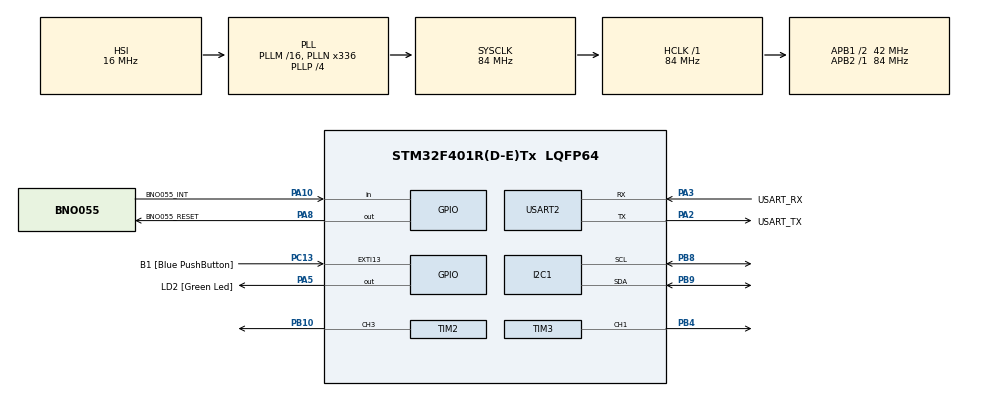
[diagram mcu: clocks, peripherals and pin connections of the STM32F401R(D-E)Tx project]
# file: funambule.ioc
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FREERTOS.Tasks01=defaultTask,24,128,StartDefaultTask,Default,NULL,Dynamic,NULL,NULL
Mcu.Family=STM32F4
Mcu.Name=STM32F401R(D-E)Tx
Mcu.Package=LQFP64
NVIC.I2C1_ER_IRQn=true\:5\:0\:false\:false\:true\:true\:true\:true
NVIC.I2C1_EV_IRQn=true\:5\:0\:false\:false\:true\:true\:true\:true
NVIC.PriorityGroup=NVIC_PRIORITYGROUP_4
NVIC.TIM1_TRG_COM_TIM11_IRQn=true\:0\:0\:false\:false\:true\:false\:false\:true
NVIC.TimeBase=TIM1_TRG_COM_TIM11_IRQn
NVIC.TimeBaseIP=TIM11
NVIC.USART2_IRQn=true\:5\:0\:false\:false\:true\:true\:true\:true
PA10.GPIO_Label=BNO055_INT
PA10.Signal=GPIO_Input
PA13.GPIO_Label=TMS
PA13.Mode=Serial_Wire
PA13.Signal=SYS_JTMS-SWDIO
PA14.GPIO_Label=TCK
PA14.Mode=Serial_Wire
PA14.Signal=SYS_JTCK-SWCLK
PA2.GPIO_Label=USART_TX
PA2.GPIO_Mode=GPIO_MODE_AF_PP
PA2.GPIO_PuPd=GPIO_NOPULL
PA2.GPIO_Speed=GPIO_SPEED_FREQ_LOW
PA2.Mode=Asynchronous
PA2.Signal=USART2_TX
PA3.GPIO_Label=USART_RX
PA3.GPIO_Mode=GPIO_MODE_AF_PP
PA3.GPIO_PuPd=GPIO_NOPULL
PA3.GPIO_Speed=GPIO_SPEED_FREQ_LOW
PA3.Mode=Asynchronous
PA3.Signal=USART2_RX
PA5.GPIO_Label=LD2 [Green Led]
PA5.GPIO_Mode=GPIO_MODE_OUTPUT_PP
PA5.GPIO_PuPd=GPIO_NOPULL
PA5.GPIO_Speed=GPIO_SPEED_FREQ_LOW
PA5.Signal=GPIO_Output
PA8.GPIO_Label=BNO055_RESET
PA8.Signal=GPIO_Output
PB10.Signal=S_TIM2_CH3
PB3.GPIO_Label=SWO
PB3.Signal=SYS_JTDO-SWO
PB4.Signal=S_TIM3_CH1
PB8.Mode=I2C
PB8.Signal=I2C1_SCL
PB9.Mode=I2C
PB9.Signal=I2C1_SDA
PC13-ANTI_TAMP.GPIO_Label=B1 [Blue PushButton]
PC13-ANTI_TAMP.GPIO_ModeDefaultEXTI=GPIO_MODE_IT_FALLING
PC13-ANTI_TAMP.GPIO_PuPd=GPIO_NOPULL
PC13-ANTI_TAMP.Signal=GPXTI13
PC14-OSC32_IN.Mode=LSE-External-Oscillator
PC14-OSC32_IN.Signal=RCC_OSC32_IN
PC15-OSC32_OUT.Mode=LSE-External-Oscillator
PC15-OSC32_OUT.Signal=RCC_OSC32_OUT
PH0\ -\ OSC_IN.Mode=HSE-External-Clock-Source
PH0\ -\ OSC_IN.Signal=RCC_OSC_IN
PH1\ -\ OSC_OUT.Mode=HSE-External-Clock-Source
PH1\ -\ OSC_OUT.Signal=RCC_OSC_OUT
ProjectManager.HeapSize=0x200
ProjectManager.StackSize=0x400
ProjectManager.TargetToolchain=TrueSTUDIO
RCC.48MHZClocksFreq_Value=48000000
RCC.AHBFreq_Value=84000000
RCC.APB1CLKDivider=RCC_HCLK_DIV2
RCC.APB1Freq_Value=42000000
RCC.APB1TimFreq_Value=84000000
RCC.APB2Freq_Value=84000000
RCC.APB2TimFreq_Value=84000000
RCC.CortexFreq_Value=84000000
RCC.HCLKFreq_Value=84000000
RCC.HSE_VALUE=8000000
RCC.HSI_VALUE=16000000
RCC.PLLN=336
RCC.PLLP=RCC_PLLP_DIV4
RCC.PLLQ=7
RCC.SYSCLKFreq_VALUE=84000000
RCC.SYSCLKSource=RCC_SYSCLKSOURCE_PLLCLK
RCC.VCOOutputFreq_Value=336000000
SH.S_TIM2_CH3.0=TIM2_CH3,PWM Generation3 CH3
SH.S_TIM3_CH1.0=TIM3_CH1,PWM Generation1 CH1
TIM2.Channel-PWM\ Generation3\ CH3=TIM_CHANNEL_3
TIM2.Period=20000
TIM2.Prescaler=80
TIM2.Pulse-PWM\ Generation3\ CH3=1500
TIM3.Channel-PWM\ Generation1\ CH1=TIM_CHANNEL_1
TIM3.Period=20000
TIM3.Prescaler=80
TIM3.Pulse-PWM\ Generation1\ CH1=1500
USART2.VirtualMode=VM_ASYNC
VP_FREERTOS_VS_CMSIS_V2.Mode=CMSIS_V2
VP_SYS_VS_tim11.Mode=TIM11
board=NUCLEO-F401RE

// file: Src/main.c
/* USER CODE BEGIN Header */
/**
  ******************************************************************************
  * @file           : main.c
  * @brief          : Main program body
  ******************************************************************************
  * @attention
  *
  * <h2><center>&copy; Copyright (c) 2021 STMicroelectronics.
  * All rights reserved.</center></h2>
  *
  * This software component is licensed by ST under BSD 3-Clause license,
  * the "License"; You may not use this file except in compliance with the
  * License. You may obtain a copy of the License at:
  *                        opensource.org/licenses/BSD-3-Clause
  *
  ******************************************************************************
  */
/* USER CODE END Header */
#include "main.h"
#include "cmsis_os.h"

/* USER CODE BEGIN Includes */
#include "stdio.h"
#include "stdbool.h"
#include "semphr.h"
#include "retarget.h"
#include "bno055_support.h"
#include "quaternion.h"
/* USER CODE END Includes */

/* USER CODE BEGIN PTD */
typedef struct
{
	int32_t yaw;//16th of degree
	int32_t pitch;//16th of degree
	int32_t roll;//16th of degree
	uint32_t time;//ms
}imu_t;

typedef enum
{
	static_goal,
	dynamic_goal,
	very_dynamic_goal
}goal_e;

typedef struct
{
	int32_t yaw;//16th of degree
	int32_t pitch;//16th of degree
	int32_t roll;//16th of degree
	goal_e type;//ms
}goal_t;

typedef enum
{
	static_control,
	dynamic_control
}control_e;

typedef struct
{
	control_e control;
	int32_t yaw;//16th of degree
	int32_t pitch;//16th of degree
	int32_t roll;//16th of degree
}control_t;

/* USER CODE END PTD */

/* USER CODE BEGIN PD */
#define pdMS_TO_TICKS( xTimeInMs ) ( ( TickType_t ) ( ( ( TickType_t ) ( xTimeInMs ) * ( TickType_t ) configTICK_RATE_HZ ) / ( TickType_t ) 1000 ) )
/* USER CODE END PD */

I2C_HandleTypeDef hi2c1;

TIM_HandleTypeDef htim2;
TIM_HandleTypeDef htim3;

UART_HandleTypeDef huart2;

/* Definitions for defaultTask */
osThreadId_t defaultTaskHandle;
const osThreadAttr_t defaultTask_attributes = {
  .name = "defaultTask",
  .stack_size = 128 * 4,
  .priority = (osPriority_t) osPriorityNormal,
};
/* USER CODE BEGIN PV */
osThreadId_t comTaskHandle;
osThreadId_t sensorTaskHandle;
osThreadId_t guidanceTaskHandle;
osThreadId_t commandTaskHandle;
extern struct bno055_t bno055;
extern SemaphoreHandle_t xI2cRxSemaphore;
extern SemaphoreHandle_t xI2cTxSemaphore;
imu_t imu_position;
control_t control={0,0,0,static_control};
goal_t goal={0,0,0,dynamic_goal};

/* USER CODE END PV */

void SystemClock_Config(void);
static void MX_GPIO_Init(void);
static void MX_USART2_UART_Init(void);
static void MX_I2C1_Init(void);
static void MX_TIM2_Init(void);
static void MX_TIM3_Init(void);
void StartDefaultTask(void *argument);

/* USER CODE BEGIN PFP */
void StartComTask(void *argument);
void StartSensorTask(void *argument);
void StartGuidanceTask(void *argument);
void StartCommandTask(void *argument);

/* USER CODE END PFP */

int main(void)
{

  /* MCU Configuration--------------------------------------------------------*/

  /* Reset of all peripherals, Initializes the Flash interface and the Systick. */
  HAL_Init();

  /* Configure the system clock */
  SystemClock_Config();

  /* Initialize all configured peripherals */
  MX_GPIO_Init();
  MX_USART2_UART_Init();
  MX_I2C1_Init();
  MX_TIM2_Init();
  MX_TIM3_Init();
  /* USER CODE BEGIN 2 */
  RetargetInit(&huart2);
  HAL_TIM_PWM_Start(&htim2,  TIM_CHANNEL_3);
  HAL_TIM_PWM_Start(&htim3,  TIM_CHANNEL_1);
  /* USER CODE END 2 */

  /* Init scheduler */
  osKernelInitialize();

  /* Create the thread(s) */
  /* creation of defaultTask */
  defaultTaskHandle = osThreadNew(StartDefaultTask, NULL, &defaultTask_attributes);

  /* USER CODE BEGIN RTOS_THREADS */
  const osThreadAttr_t comTask_attributes = {
    .name = "comTask",
    .priority = (osPriority_t) osPriorityNormal,
    .stack_size = 2048
  };
  comTaskHandle = osThreadNew(StartComTask, NULL, &comTask_attributes);
  const osThreadAttr_t sensorTask_attributes = {
    .name = "sensorTask",
    .priority = (osPriority_t) osPriorityNormal,
    .stack_size = 2048
  };
  sensorTaskHandle = osThreadNew(StartSensorTask, NULL, &sensorTask_attributes);
  const osThreadAttr_t commandTask_attributes = {
    .name = "commandTask",
    .priority = (osPriority_t) osPriorityNormal,
    .stack_size = 2048
  };
  commandTaskHandle = osThreadNew(StartCommandTask, NULL, &commandTask_attributes);
  const osThreadAttr_t guidanceTask_attributes = {
    .name = "guidanceTask",
    .priority = (osPriority_t) osPriorityNormal,
    .stack_size = 2048
  };
  guidanceTaskHandle = osThreadNew(StartGuidanceTask, NULL, &guidanceTask_attributes);
  /* add threads, ... */
  /* USER CODE END RTOS_THREADS */

  /* Start scheduler */
  osKernelStart();

  /* We should never get here as control is now taken by the scheduler */
  /* Infinite loop */
  /* USER CODE BEGIN WHILE */
  while (1)
  {
		if(HAL_GPIO_ReadPin(B1_GPIO_Port,B1_Pin)==GPIO_PIN_RESET)
		  HAL_GPIO_TogglePin(LD2_GPIO_Port, LD2_Pin);
		HAL_Delay(100);
    /* USER CODE END WHILE */

  }
}

void SystemClock_Config(void)
{
  RCC_OscInitTypeDef RCC_OscInitStruct = {0};
  RCC_ClkInitTypeDef RCC_ClkInitStruct = {0};

  /** Configure the main internal regulator output voltage
  */
  __HAL_RCC_PWR_CLK_ENABLE();
  __HAL_PWR_VOLTAGESCALING_CONFIG(PWR_REGULATOR_VOLTAGE_SCALE2);
  /** Initializes the RCC Oscillators according to the specified parameters
  * in the RCC_OscInitTypeDef structure.
  */
  RCC_OscInitStruct.OscillatorType = RCC_OSCILLATORTYPE_HSI;
  RCC_OscInitStruct.HSIState = RCC_HSI_ON;
  RCC_OscInitStruct.HSICalibrationValue = RCC_HSICALIBRATION_DEFAULT;
  RCC_OscInitStruct.PLL.PLLState = RCC_PLL_ON;
  RCC_OscInitStruct.PLL.PLLSource = RCC_PLLSOURCE_HSI;
  RCC_OscInitStruct.PLL.PLLM = 16;
  RCC_OscInitStruct.PLL.PLLN = 336;
  RCC_OscInitStruct.PLL.PLLP = RCC_PLLP_DIV4;
  RCC_OscInitStruct.PLL.PLLQ = 7;
  if (HAL_RCC_OscConfig(&RCC_OscInitStruct) != HAL_OK)
  {
    Error_Handler();
  }
  /** Initializes the CPU, AHB and APB buses clocks
  */
  RCC_ClkInitStruct.ClockType = RCC_CLOCKTYPE_HCLK|RCC_CLOCKTYPE_SYSCLK
                              |RCC_CLOCKTYPE_PCLK1|RCC_CLOCKTYPE_PCLK2;
  RCC_ClkInitStruct.SYSCLKSource = RCC_SYSCLKSOURCE_PLLCLK;
  RCC_ClkInitStruct.AHBCLKDivider = RCC_SYSCLK_DIV1;
  RCC_ClkInitStruct.APB1CLKDivider = RCC_HCLK_DIV2;
  RCC_ClkInitStruct.APB2CLKDivider = RCC_HCLK_DIV1;

  if (HAL_RCC_ClockConfig(&RCC_ClkInitStruct, FLASH_LATENCY_2) != HAL_OK)
  {
    Error_Handler();
  }
}

static void MX_I2C1_Init(void)
{

  hi2c1.Instance = I2C1;
  hi2c1.Init.ClockSpeed = 100000;
  hi2c1.Init.DutyCycle = I2C_DUTYCYCLE_2;
  hi2c1.Init.OwnAddress1 = 0;
  hi2c1.Init.AddressingMode = I2C_ADDRESSINGMODE_7BIT;
  hi2c1.Init.DualAddressMode = I2C_DUALADDRESS_DISABLE;
  hi2c1.Init.OwnAddress2 = 0;
  hi2c1.Init.GeneralCallMode = I2C_GENERALCALL_DISABLE;
  hi2c1.Init.NoStretchMode = I2C_NOSTRETCH_DISABLE;
  if (HAL_I2C_Init(&hi2c1) != HAL_OK)
  {
    Error_Handler();
  }

}

static void MX_TIM2_Init(void)
{

  TIM_MasterConfigTypeDef sMasterConfig = {0};
  TIM_OC_InitTypeDef sConfigOC = {0};

  htim2.Instance = TIM2;
  htim2.Init.Prescaler = 80;
  htim2.Init.CounterMode = TIM_COUNTERMODE_UP;
  htim2.Init.Period = 20000;
  htim2.Init.ClockDivision = TIM_CLOCKDIVISION_DIV1;
  htim2.Init.AutoReloadPreload = TIM_AUTORELOAD_PRELOAD_DISABLE;
  if (HAL_TIM_PWM_Init(&htim2) != HAL_OK)
  {
    Error_Handler();
  }
  sMasterConfig.MasterOutputTrigger = TIM_TRGO_RESET;
  sMasterConfig.MasterSlaveMode = TIM_MASTERSLAVEMODE_DISABLE;
  if (HAL_TIMEx_MasterConfigSynchronization(&htim2, &sMasterConfig) != HAL_OK)
  {
    Error_Handler();
  }
  sConfigOC.OCMode = TIM_OCMODE_PWM1;
  sConfigOC.Pulse = 1500;
  sConfigOC.OCPolarity = TIM_OCPOLARITY_HIGH;
  sConfigOC.OCFastMode = TIM_OCFAST_DISABLE;
  if (HAL_TIM_PWM_ConfigChannel(&htim2, &sConfigOC, TIM_CHANNEL_3) != HAL_OK)
  {
    Error_Handler();
  }
  HAL_TIM_MspPostInit(&htim2);

}

static void MX_TIM3_Init(void)
{

  TIM_MasterConfigTypeDef sMasterConfig = {0};
  TIM_OC_InitTypeDef sConfigOC = {0};

  htim3.Instance = TIM3;
  htim3.Init.Prescaler = 80;
  htim3.Init.CounterMode = TIM_COUNTERMODE_UP;
  htim3.Init.Period = 20000;
  htim3.Init.ClockDivision = TIM_CLOCKDIVISION_DIV1;
  htim3.Init.AutoReloadPreload = TIM_AUTORELOAD_PRELOAD_DISABLE;
  if (HAL_TIM_PWM_Init(&htim3) != HAL_OK)
  {
    Error_Handler();
  }
  sMasterConfig.MasterOutputTrigger = TIM_TRGO_RESET;
  sMasterConfig.MasterSlaveMode = TIM_MASTERSLAVEMODE_DISABLE;
  if (HAL_TIMEx_MasterConfigSynchronization(&htim3, &sMasterConfig) != HAL_OK)
  {
    Error_Handler();
  }
  sConfigOC.OCMode = TIM_OCMODE_PWM1;
  sConfigOC.Pulse = 1500;
  sConfigOC.OCPolarity = TIM_OCPOLARITY_HIGH;
  sConfigOC.OCFastMode = TIM_OCFAST_DISABLE;
  if (HAL_TIM_PWM_ConfigChannel(&htim3, &sConfigOC, TIM_CHANNEL_1) != HAL_OK)
  {
    Error_Handler();
  }
  HAL_TIM_MspPostInit(&htim3);

}

static void MX_USART2_UART_Init(void)
{

  huart2.Instance = USART2;
  huart2.Init.BaudRate = 115200;
  huart2.Init.WordLength = UART_WORDLENGTH_8B;
  huart2.Init.StopBits = UART_STOPBITS_1;
  huart2.Init.Parity = UART_PARITY_NONE;
  huart2.Init.Mode = UART_MODE_TX_RX;
  huart2.Init.HwFlowCtl = UART_HWCONTROL_NONE;
  huart2.Init.OverSampling = UART_OVERSAMPLING_16;
  if (HAL_UART_Init(&huart2) != HAL_OK)
  {
    Error_Handler();
  }

}

static void MX_GPIO_Init(void)
{
  GPIO_InitTypeDef GPIO_InitStruct = {0};

  /* GPIO Ports Clock Enable */
  __HAL_RCC_GPIOC_CLK_ENABLE();
  __HAL_RCC_GPIOH_CLK_ENABLE();
  __HAL_RCC_GPIOA_CLK_ENABLE();
  __HAL_RCC_GPIOB_CLK_ENABLE();

  /*Configure GPIO pin Output Level */
  HAL_GPIO_WritePin(GPIOA, LD2_Pin|BNO055_RESET_Pin, GPIO_PIN_RESET);

  /*Configure GPIO pin : B1_Pin */
  GPIO_InitStruct.Pin = B1_Pin;
  GPIO_InitStruct.Mode = GPIO_MODE_IT_FALLING;
  GPIO_InitStruct.Pull = GPIO_NOPULL;
  HAL_GPIO_Init(B1_GPIO_Port, &GPIO_InitStruct);

  /*Configure GPIO pins : LD2_Pin BNO055_RESET_Pin */
  GPIO_InitStruct.Pin = LD2_Pin|BNO055_RESET_Pin;
  GPIO_InitStruct.Mode = GPIO_MODE_OUTPUT_PP;
  GPIO_InitStruct.Pull = GPIO_NOPULL;
  GPIO_InitStruct.Speed = GPIO_SPEED_FREQ_LOW;
  HAL_GPIO_Init(GPIOA, &GPIO_InitStruct);

  /*Configure GPIO pin : BNO055_INT_Pin */
  GPIO_InitStruct.Pin = BNO055_INT_Pin;
  GPIO_InitStruct.Mode = GPIO_MODE_INPUT;
  GPIO_InitStruct.Pull = GPIO_NOPULL;
  HAL_GPIO_Init(BNO055_INT_GPIO_Port, &GPIO_InitStruct);

}

/* USER CODE BEGIN 4 */
int16_t map(int16_t x, int16_t in_min, int16_t in_max, int16_t out_min, int16_t out_max) {
  return (x - in_min) * (out_max - out_min) / (in_max - in_min) + out_min;
}

struct bno055_euler_t euler_hrp;

#define M_PI 3.141592653589793238462f
#define TO_RAD(x) ((double)x*M_PI/(180*16))
#define RAD_TO_DEG(x) (x*(180*16)/M_PI)

void StartCommandTask(void *argument)
{
	TickType_t xLastWakeTime;
	const TickType_t xFrequency = 200;
	xLastWakeTime = xTaskGetTickCount();

	int servo3 = 1500;
	int servo2 = 1500;

	htim3.Instance->CCR1= servo3;
	htim2.Instance->CCR3= servo2;

	for(;;)
	{

	    //htim3.Instance->CCR1= map((euler_hrp.r/16), -180, 180, 0, 3000);
		//htim2.Instance->CCR3= map((euler_hrp.p/16), -180, 180, 0, 3000);

		//htim3.Instance->CCR1= 1500;
		//htim2.Instance->CCR3= 1500;

		int actualAngle3 = euler_hrp.r/16;
		int actualAngle2 = euler_hrp.p/16;
		printf("actualAngle : %d, %d\r\n", actualAngle3, actualAngle2);

		int value3 = map(actualAngle3, -90, 90, 500, 2500);
		int value2 = map(actualAngle2, -90, 90, 500, 2500);
		printf("values : %d; %d\r\n", value3, value2);

		int newServo3 = servo3;
		int newServo2 = servo2;

		if (actualAngle3 > 5 || actualAngle3 < -5) {
			newServo3 -= 1500 - value3;
		}

		// seuil
		if (newServo3 > 2500) {
			newServo3 = 2500;
		}
		else if (newServo3 < 500) {
			newServo3 = 500;
		}

		if (actualAngle2 > 5 || actualAngle2 < -5) {
			newServo2 += 1500 - value2;
		}

		// seuil
		if (newServo3 > 2500) {
			newServo3 = 2500;
		}
		else if (newServo3 < 500) {
			newServo3 = 500;
		}

		printf("servos : %d, %d\r\n\r\n", newServo3, newServo2);
		htim3.Instance->CCR1 = newServo3;
		htim2.Instance->CCR3= newServo2;

		servo3 = newServo3;
		servo2 = newServo2;

		/*//if (servo3 < newServo3) {
			for (; servo3 <= newServo3; servo3++) {
				htim3.Instance->CCR1 = servo3;
				//vTaskDelayUntil( &xLastWakeTime, xFrequency );
			}
			//servo3 = newServo3;
		//}

		//else if (servo3 > newServo3) {
			for (; servo3 >= newServo3; servo3--) {
				htim3.Instance->CCR1 = servo3;
				//vTaskDelayUntil( &xLastWakeTime, xFrequency );
			}
			//servo3 = newServo3;
		//}

		//htim2.Instance->CCR3= servo2;*/
		vTaskDelayUntil( &xLastWakeTime, xFrequency );

	}
}

void StartGuidanceTask(void *argument)
{
	TickType_t xLastWakeTime;
	const TickType_t xFrequency = 20;
	xLastWakeTime = xTaskGetTickCount();

	for(;;)
	{

		vTaskDelayUntil( &xLastWakeTime, xFrequency );

	}
}

void StartSensorTask(void *argument)
{
  /* Infinite loop */
  TickType_t xLastWakeTime;
  const TickType_t xFrequency = 10;
  xI2cRxSemaphore = xSemaphoreCreateBinary();
  xI2cTxSemaphore = xSemaphoreCreateBinary();
  HAL_GPIO_WritePin(BNO055_RESET_GPIO_Port, BNO055_RESET_Pin, GPIO_PIN_SET);
  I2C_routine();
  bno055_init(&bno055);
  bno055_set_power_mode(BNO055_POWER_MODE_NORMAL);
  bno055_set_operation_mode(BNO055_OPERATION_MODE_NDOF);
//  data=malloc(100);
  xLastWakeTime = xTaskGetTickCount();
  for(;;)
  {
    bno055_read_euler_hrp(&euler_hrp);
    //printf("sens %d %d %d\r\n",euler_hrp.h/16,euler_hrp.r/16,euler_hrp.p/16);
	vTaskDelayUntil( &xLastWakeTime, xFrequency );

  }
//  free(data);
}
void StartComTask(void *argument)
{
  /* Infinite loop */
  char data[100];
//  data=malloc(100);
  for(;;)
  {
	  scanf("%s",data);
      printf("%s\r\n",data);
  }
//  free(data);
}
/* USER CODE END 4 */

void StartDefaultTask(void *argument)
{
  /* USER CODE BEGIN 5 */
  /* Infinite loop */
  TickType_t xLastWakeTime;
  const TickType_t xFrequency = 100;
  xLastWakeTime = xTaskGetTickCount();

  for(;;)
  {
	vTaskDelayUntil( &xLastWakeTime, xFrequency );
	if(HAL_GPIO_ReadPin(B1_GPIO_Port,B1_Pin)==GPIO_PIN_RESET)
	  HAL_GPIO_TogglePin(LD2_GPIO_Port, LD2_Pin);
  }
  /* USER CODE END 5 */
}

 /**
  * @brief  Period elapsed callback in non blocking mode
  * @note   This function is called  when TIM11 interrupt took place, inside
  * HAL_TIM_IRQHandler(). It makes a direct call to HAL_IncTick() to increment
  * a global variable "uwTick" used as application time base.
  * @param  htim : TIM handle
  * @retval None
  */
void HAL_TIM_PeriodElapsedCallback(TIM_HandleTypeDef *htim)
{
  if (htim->Instance == TIM11) {
    HAL_IncTick();
  }
}

void Error_Handler(void)
{
}

/************************ (C) COPYRIGHT STMicroelectronics *****END OF FILE****/
